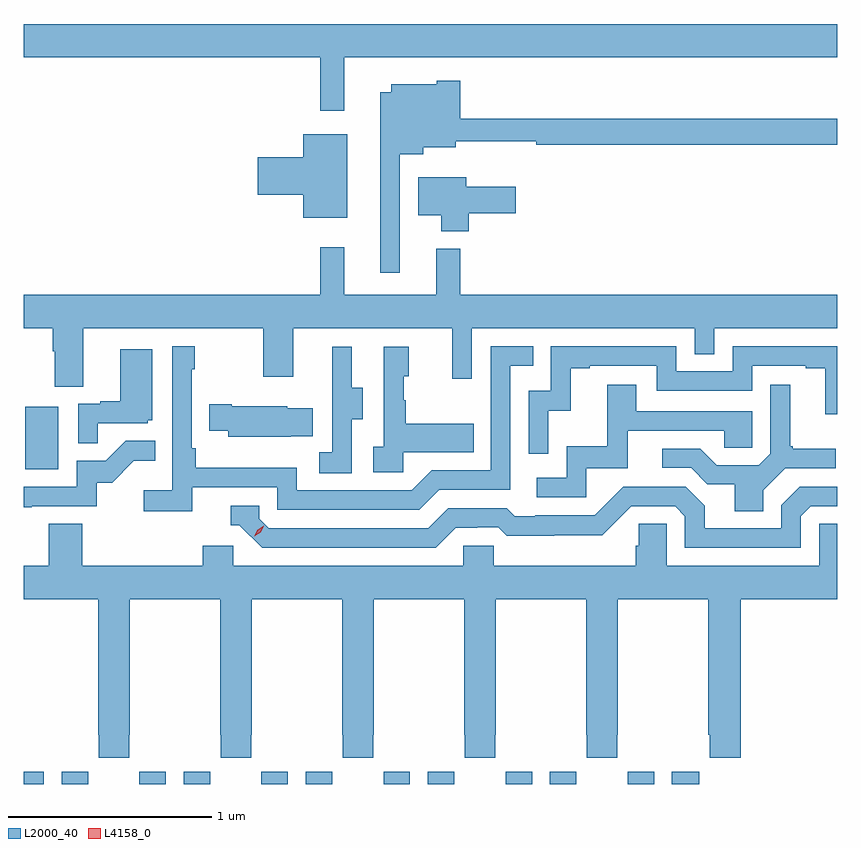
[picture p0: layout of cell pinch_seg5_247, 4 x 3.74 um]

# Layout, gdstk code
import gdstk
lib = gdstk.Library(unit=1e-6, precision=1e-09)
def R(c, l, rs):  # rectangles x0, y0, x1, y1
    for r in rs: c.add(gdstk.rectangle(r[:2], r[2:], *l))
def P(c, l, *ps):  # polygons
    for p in ps: c.add(gdstk.Polygon(p, *l))
L2000_40 = (2000, 40)
L4158_0 = (4158, 0)

pinch_seg5_247 = lib.new_cell('pinch_seg5_247')
R(pinch_seg5_247, L2000_40, [(947.641,907.8,947.74,907.861), (947.828,907.8,947.958,907.861), (948.21,907.8,948.34,907.861), (948.428,907.8,948.558,907.861), (948.81,907.8,948.94,907.861), (949.028,907.8,949.158,907.861), (949.41,907.8,949.54,907.861), (949.628,907.8,949.758,907.861), (950.01,907.8,950.14,907.861), (950.228,907.8,950.358,907.861), (950.61,907.8,950.74,907.861), (950.828,907.8,950.962,907.861), (947.648,909.348,947.812,909.655)])
P(pinch_seg5_247, L2000_40, [(949.218,911.372),(951.641,911.372),(951.641,911.536),(947.641,911.536),(947.641,911.372),(949.099,911.372),(949.099,911.109),(949.218,911.109)],
  [(949.491,910.895),(949.606,910.895),(949.606,910.931),(949.765,910.931),(949.765,910.96),(950.161,910.96),(950.161,910.942),(951.641,910.942),(951.641,911.071),(949.787,911.071),(949.787,911.257),(949.671,911.257),(949.671,911.239),(949.448,911.239),(949.448,911.2),(949.394,911.2),(949.394,910.314),(949.491,910.314)],
  [(949.231,910.993),(949.016,910.993),(949.016,910.88),(948.792,910.88),(948.792,910.697),(949.016,910.697),(949.016,910.583),(949.231,910.583)],
  [(949.829,910.606),(950.059,910.606),(950.059,910.735),(949.816,910.735),(949.816,910.783),(949.58,910.783),(949.58,910.595),(949.694,910.595),(949.694,910.517),(949.829,910.517)],
  [(947.935,910.04),(948.82,910.04),(948.82,909.801),(948.967,909.801),(948.967,910.04),(949.748,910.04),(949.748,909.792),(949.845,909.792),(949.845,910.04),(950.94,910.04),(950.94,909.913),(951.036,909.913),(951.036,910.04),(951.641,910.04),(951.641,910.204),(949.787,910.204),(949.787,910.432),(949.67,910.432),(949.67,910.204),(949.217,910.204),(949.217,910.438),(949.099,910.438),(949.099,910.204),(947.641,910.204),(947.641,910.04),(947.783,910.04),(947.783,909.928),(947.795,909.928),(947.795,909.754),(947.935,909.754)],
  [(948.47,909.258),(948.888,909.258),(948.888,909.147),(949.585,909.147),(949.684,909.246),(950.034,909.246),(950.034,909.855),(950.147,909.855),(950.147,909.951),(949.938,909.951),(949.938,909.342),(949.647,909.342),(949.548,909.243),(948.984,909.243),(948.984,909.355),(948.488,909.355),(948.488,909.451),(948.468,909.451),(948.468,909.839),(948.481,909.839),(948.481,909.952),(948.372,909.952),(948.372,909.244),(948.231,909.244),(948.231,909.142),(948.47,909.142)],
  [(950.22,909.635),(950.33,909.635),(950.33,909.843),(950.425,909.843),(950.425,909.855),(950.754,909.855),(950.754,909.732),(951.222,909.732),(951.222,909.855),(951.485,909.855),(951.485,909.843),(951.581,909.843),(951.581,909.617),(951.641,909.617),(951.641,909.951),(951.126,909.951),(951.126,909.828),(950.85,909.828),(950.85,909.951),(950.232,909.951),(950.232,909.732),(950.124,909.732),(950.124,909.423),(950.22,909.423)],
  [(949.254,909.592),(949.309,909.592),(949.309,909.747),(949.255,909.747),(949.255,909.949),(949.157,909.949),(949.157,909.735),(949.158,909.735),(949.158,909.431),(949.095,909.431),(949.095,909.328),(949.254,909.328)],
  [(949.506,909.431),(949.853,909.431),(949.853,909.571),(949.519,909.571),(949.519,909.686),(949.509,909.686),(949.509,909.804),(949.534,909.804),(949.534,909.949),(949.41,909.949),(949.41,909.458),(949.359,909.458),(949.359,909.333),(949.506,909.333)],
  [(948.005,909.573),(948.252,909.573),(948.252,909.588),(948.274,909.588),(948.274,909.937),(948.116,909.937),(948.116,909.682),(948.017,909.682),(948.017,909.669),(947.91,909.669),(947.91,909.475),(948.005,909.475)],
  [(950.406,909.351),(950.611,909.351),(950.611,909.537),(951.085,909.537),(951.085,909.453),(951.222,909.453),(951.222,909.633),(950.653,909.633),(950.653,909.763),(950.509,909.763),(950.509,909.46),(950.31,909.46),(950.31,909.306),(950.163,909.306),(950.163,909.21),(950.406,909.21)],
  [(951.277,909.244),(951.384,909.351),(951.634,909.351),(951.634,909.448),(951.421,909.448),(951.421,909.46),(951.409,909.46),(951.409,909.763),(951.312,909.763),(951.312,909.423),(951.255,909.366),(951.049,909.366),(950.968,909.447),(950.781,909.447),(950.781,909.354),(950.922,909.354),(951.002,909.274),(951.137,909.274),(951.137,909.142),(951.277,909.142)],
  [(948.953,909.509),(949.061,909.509),(949.061,909.646),(948.936,909.646),(948.936,909.658),(948.664,909.658),(948.664,909.666),(948.553,909.666),(948.553,909.536),(948.647,909.536),(948.647,909.506),(948.953,909.506)],
  [(947.681,909.165),(948,909.165),(948,909.282),(948.076,909.282),(948.183,909.389),(948.287,909.389),(948.287,909.488),(948.143,909.488),(948.045,909.39),(947.901,909.39),(947.901,909.261),(947.641,909.261),(947.641,909.16),(947.681,909.16)],
  [(949.765,909.06),(949.872,909.06),(949.872,909.063),(949.975,909.063),(950.017,909.021),(950.25,909.021),(950.25,909.023),(950.486,909.023),(950.628,909.165),(950.844,909.165),(950.892,909.117),(950.892,908.961),(951.462,908.961),(951.462,909.117),(951.51,909.165),(951.641,909.165),(951.641,909.261),(951.456,909.261),(951.366,909.171),(951.366,909.057),(950.989,909.057),(950.989,909.167),(950.895,909.261),(950.589,909.261),(950.448,909.12),(950.155,909.12),(950.155,909.117),(950.056,909.117),(950.017,909.156),(949.728,909.156),(949.629,909.057),(948.846,909.057),(948.798,909.105),(948.798,909.168),(948.659,909.168),(948.659,909.072),(948.702,909.072),(948.813,908.961),(949.666,908.961)],
  [(950.802,909.08),(950.665,909.08),(950.665,908.97),(950.651,908.97),(950.651,908.872),(949.953,908.872),(949.953,908.97),(949.803,908.97),(949.803,908.872),(948.672,908.872),(948.672,908.97),(948.521,908.97),(948.521,908.872),(947.93,908.872),(947.93,909.08),(947.765,909.08),(947.765,908.872),(947.641,908.872),(947.641,908.708),(948.007,908.708),(948.007,908.041),(948.009,908.041),(948.009,907.929),(948.159,907.929),(948.159,908.041),(948.162,908.041),(948.162,908.708),(948.607,908.708),(948.607,908.041),(948.609,908.041),(948.609,907.929),(948.759,907.929),(948.759,908.041),(948.762,908.041),(948.762,908.708),(949.207,908.708),(949.207,908.041),(949.209,908.041),(949.209,907.929),(949.359,907.929),(949.359,908.041),(949.362,908.041),(949.362,908.708),(949.807,908.708),(949.807,908.041),(949.809,908.041),(949.809,907.929),(949.959,907.929),(949.959,908.041),(949.962,908.041),(949.962,908.708),(950.407,908.708),(950.407,908.041),(950.409,908.041),(950.409,907.929),(950.559,907.929),(950.559,908.041),(950.562,908.041),(950.562,908.708),(951.007,908.708),(951.007,908.041),(951.013,908.041),(951.013,907.929),(951.167,907.929),(951.167,908.708),(951.641,908.708),(951.641,909.08),(951.552,909.08),(951.552,908.872),(950.802,908.872)])
P(pinch_seg5_247, L4158_0, [(948.775,909.019),(948.775,909.019),(948.791,909.051),(948.822,909.07),(948.822,909.07),(948.822,909.07),(948.806,909.038),(948.775,909.019)])

lib.write_gds('pinch_seg5_247.gds')
